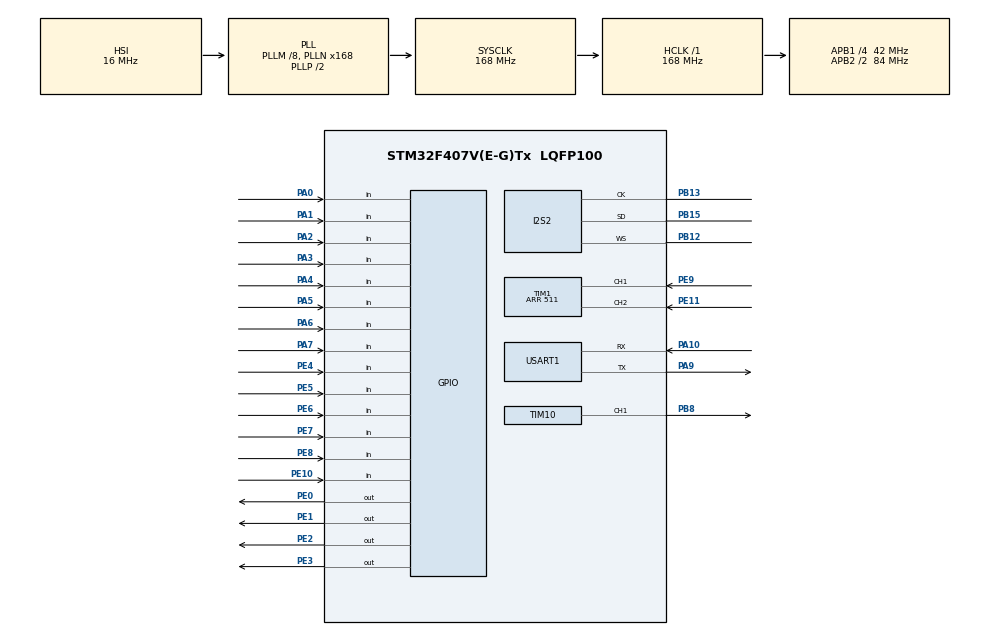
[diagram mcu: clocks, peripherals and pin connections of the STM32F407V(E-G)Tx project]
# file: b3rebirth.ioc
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Mcu.Family=STM32F4
Dma.SPI2_TX.2.PeriphInc=DMA_PINC_DISABLE
Dma.SPI2_TX.2.MemInc=DMA_MINC_ENABLE
PE7.GPIO_PuPd=GPIO_PULLUP
RCC.CortexFreq_Value=168000000
Dma.USART1_TX.1.MemInc=DMA_MINC_ENABLE
PE8.GPIO_PuPd=GPIO_PULLUP
TIM10.ClockDivision=TIM_CLOCKDIVISION_DIV2
PE10.GPIO_PuPd=GPIO_PULLUP
NVIC.DMA1_Stream4_IRQn=true\:5\:0\:false\:false\:true\:true\:false\:true
PB13.Signal=I2S2_CK
PB15.Signal=I2S2_SD
RCC.SYSCLKSource=RCC_SYSCLKSOURCE_PLLCLK
ProjectManager.StackSize=0x400
Dma.SPI2_TX.2.FIFOThreshold=DMA_FIFO_THRESHOLD_HALFFULL
PE5.GPIO_PuPd=GPIO_PULLUP
PE11.GPIO_PuPd=GPIO_PULLUP
RCC.HCLKFreq_Value=168000000
RCC.APB2TimFreq_Value=168000000
VP_TIM10_VS_ClockSourceINT.Mode=Enable_Timer
Dma.SPI2_TX.2.PeriphDataAlignment=DMA_PDATAALIGN_HALFWORD
PE5.Signal=GPIO_Input
Dma.SPI2_TX.2.Instance=DMA1_Stream4
PE1.Signal=GPIO_Output
RCC.AHBFreq_Value=168000000
Dma.USART1_RX.0.Priority=DMA_PRIORITY_LOW
ADC1.Channel-0\#ChannelRegularConversion=ADC_CHANNEL_VREFINT
RCC.HSE_VALUE=25000000
TIM10.Channel=TIM_CHANNEL_1
VP_ADC1_Vref_Input.Mode=IN-Vrefint
PE9.Signal=S_TIM1_CH1
PA14.Mode=Serial_Wire
NVIC.TIM2_IRQn=true\:0\:0\:false\:false\:true\:false\:false\:true
PE2.Signal=GPIO_Output
TIM4.Period=65535
VP_FREERTOS_VS_CMSIS_V1.Mode=CMSIS_V1
Dma.USART1_RX.0.MemInc=DMA_MINC_ENABLE
Dma.SPI2_TX.2.PeriphBurst=DMA_PBURST_SINGLE
Dma.SPI2_TX.2.MemDataAlignment=DMA_MDATAALIGN_HALFWORD
PE4.Signal=GPIO_Input
PE10.Signal=GPIO_Input
ADC1.SamplingTime-0\#ChannelRegularConversion=ADC_SAMPLETIME_3CYCLES
Dma.USART1_TX.1.PeriphDataAlignment=DMA_PDATAALIGN_BYTE
Mcu.Package=LQFP100
VP_SYS_VS_tim2.Mode=TIM2
PA6.Signal=GPIO_Input
PB12.Mode=Half_Duplex_Master
NVIC.DMA2_Stream7_IRQn=true\:5\:0\:false\:false\:true\:true\:false\:true
NVIC.TimeBase=TIM2_IRQn
Dma.SPI2_TX.2.Priority=DMA_PRIORITY_LOW
SH.S_TIM10_CH1.0=TIM10_CH1,PWM Generation1 CH1
Dma.SPI2_TX.2.Mode=DMA_CIRCULAR
NVIC.TimeBaseIP=TIM2
PA10.Signal=USART1_RX
Dma.USART1_RX.0.FIFOMode=DMA_FIFOMODE_DISABLE
RCC.APB2CLKDivider=RCC_HCLK_DIV2
NVIC.DMA2_Stream2_IRQn=true\:5\:0\:false\:false\:true\:true\:false\:true
Dma.Request2=SPI2_TX
Dma.Request1=USART1_TX
RCC.APB1TimFreq_Value=84000000
TIM1.IC2Prescaler=TIM_ICPSC_DIV2
Dma.USART1_RX.0.Mode=DMA_NORMAL
Dma.USART1_TX.1.Priority=DMA_PRIORITY_LOW
TIM1.Period=511
PB13.Mode=Half_Duplex_Master
PE7.Signal=GPIO_Input
NVIC.USART1_IRQn=true\:5\:0\:false\:false\:true\:true\:true\:true
Dma.Request0=USART1_RX
PE6.GPIO_PuPd=GPIO_PULLUP
Dma.USART1_RX.0.Instance=DMA2_Stream2
PA3.Signal=GPIO_Input
Dma.USART1_TX.1.Direction=DMA_MEMORY_TO_PERIPH
TIM10.Prescaler=840
Dma.USART1_TX.1.Instance=DMA2_Stream7
I2S2.AudioFreq=I2S_AUDIOFREQ_44K
TIM1.IC1Prescaler=TIM_ICPSC_DIV2
TIM4.AutoReloadPreload=TIM_AUTORELOAD_PRELOAD_ENABLE
FREERTOS.Tasks01=defaultTask,0,128,StartDefaultTask,Default,NULL,Dynamic,NULL,NULL
ADC1.Rank-0\#ChannelRegularConversion=1
I2S2.Instance=SPI$Index
Dma.USART1_RX.0.PeriphDataAlignment=DMA_PDATAALIGN_BYTE
PA10.Mode=Asynchronous
Dma.SPI2_TX.2.MemBurst=DMA_MBURST_SINGLE
VP_RNG_VS_RNG.Mode=RNG_Activate
RCC.APB1CLKDivider=RCC_HCLK_DIV4
PA0-WKUP.Signal=GPIO_Input
TIM1.ClockDivision=TIM_CLOCKDIVISION_DIV2
PA13.Signal=SYS_JTMS-SWDIO
TIM1.AutoReloadPreload=TIM_AUTORELOAD_PRELOAD_ENABLE
PA9.Mode=Asynchronous
SH.S_TIM1_CH1.0=TIM1_CH1,Encoder_Interface
ProjectManager.TargetToolchain=TrueSTUDIO
Dma.SPI2_TX.2.Direction=DMA_MEMORY_TO_PERIPH
Dma.USART1_RX.0.Direction=DMA_PERIPH_TO_MEMORY
Dma.SPI2_TX.2.FIFOMode=DMA_FIFOMODE_ENABLE
PA9.Signal=USART1_TX
I2S2.VirtualMode=I2S_MODE_MASTER
Dma.USART1_TX.1.FIFOMode=DMA_FIFOMODE_DISABLE
TIM4.Prescaler=83
PE11.Signal=S_TIM1_CH2
RCC.LSE_VALUE=32768
PA1.Signal=GPIO_Input
Dma.USART1_RX.0.PeriphInc=DMA_PINC_DISABLE
PA5.Signal=GPIO_Input
Dma.USART1_TX.1.MemDataAlignment=DMA_MDATAALIGN_BYTE
board=custom
RCC.VCOOutputFreq_Value=336000000
PB15.Mode=Half_Duplex_Master
TIM10.Period=1024
RCC.APB2Freq_Value=84000000
TIM10.Pulse=768
SH.S_TIM1_CH2.0=TIM1_CH2,Encoder_Interface
PE8.Signal=GPIO_Input
TIM1.IC2Filter=9
Dma.USART1_RX.0.MemDataAlignment=DMA_MDATAALIGN_BYTE
PE6.Signal=GPIO_Input
ADC1.NbrOfConversion=1
PA13.Mode=Serial_Wire
PE0.Signal=GPIO_Output
Mcu.Name=STM32F407V(E-G)Tx
PA2.Signal=GPIO_Input
PE4.GPIO_PuPd=GPIO_PULLUP
I2S2.FullDuplexMode=I2S_FULLDUPLEXMODE_DISABLE
RCC.48MHZClocksFreq_Value=48000000
PA4.Signal=GPIO_Input
RCC.SYSCLKFreq_VALUE=168000000
ADC1.master=1
TIM1.IC1Filter=9
I2S2.ErrorAudioFreq=-1.35 %
Dma.USART1_TX.1.Mode=DMA_NORMAL
USART1.VirtualMode=VM_ASYNC
PA14.Signal=SYS_JTCK-SWCLK
ProjectManager.HeapSize=0x200
Dma.USART1_TX.1.PeriphInc=DMA_PINC_DISABLE
RCC.HSI_VALUE=16000000
VP_TIM4_VS_ClockSourceINT.Mode=Internal
RCC.PLLQ=7
NVIC.PriorityGroup=NVIC_PRIORITYGROUP_4
ADC1.NbrOfConversionFlag=1
RCC.PLLM=8
RCC.PLLN=168
PE3.Signal=GPIO_Output
PB8.Signal=S_TIM10_CH1
RCC.APB1Freq_Value=42000000
PB8.GPIO_Speed=GPIO_SPEED_FREQ_HIGH
I2S2.RealAudioFreq=43.402 KHz
ADC1.ClockPrescaler=ADC_CLOCK_SYNC_PCLK_DIV8
RCC.PLLI2SN=50
PB12.Signal=I2S2_WS
PA7.Signal=GPIO_Input
PE9.GPIO_PuPd=GPIO_PULLUP

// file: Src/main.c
/* USER CODE BEGIN Header */
/**
  ******************************************************************************
  * @file           : main.c
  * @brief          : Main program body
  ******************************************************************************
  * @attention
  *
  * <h2><center>&copy; Copyright (c) 2020 STMicroelectronics.
  * All rights reserved.</center></h2>
  *
  * This software component is licensed by ST under Ultimate Liberty license
  * SLA0044, the "License"; You may not use this file except in compliance with
  * the License. You may obtain a copy of the License at:
  *                             www.st.com/SLA0044
  *
  ******************************************************************************
  */
/* USER CODE END Header */

#include "main.h"
#include "cmsis_os.h"
#include "adc.h"
#include "dma.h"
#include "i2s.h"
#include "rng.h"
#include "tim.h"
#include "usart.h"
#include "gpio.h"

/* USER CODE BEGIN Includes */
#include "stdio.h"
#include "string.h"
/* USER CODE END Includes */

void SystemClock_Config(void);
void MX_FREERTOS_Init(void);

/* USER CODE BEGIN 0 */
char uartdebugBuffer[256];
int _write(int file, char *ptr, int len)
{
  while (huart1.gState != HAL_UART_STATE_READY) {
    //Kill time waiting for previous transfers
    HAL_Delay(10);
  }
  memcpy(uartdebugBuffer, ptr, len);
  HAL_UART_Transmit_DMA(&huart1, (uint8_t *)uartdebugBuffer, len);

  return len;
}
/* USER CODE END 0 */

int main(void)
{

  /* MCU Configuration--------------------------------------------------------*/

  /* Reset of all peripherals, Initializes the Flash interface and the Systick. */
  HAL_Init();

  /* Configure the system clock */
  SystemClock_Config();

  /* Initialize all configured peripherals */
  MX_GPIO_Init();
  MX_DMA_Init();
  MX_I2S2_Init();
  MX_USART1_UART_Init();
  MX_RNG_Init();
  MX_TIM4_Init();
  MX_TIM1_Init();
  MX_ADC1_Init();
  MX_TIM10_Init();
  /* USER CODE BEGIN 2 */
  printf("DEBUG rebirth\n\r");
  HAL_TIM_Base_Start(&htim4);
  HAL_TIM_Encoder_Start(&htim1, TIM_CHANNEL_1);
  HAL_TIM_PWM_Start(&htim10, TIM_CHANNEL_1);

  /* USER CODE END 2 */

  /* Call init function for freertos objects (in freertos.c) */
  MX_FREERTOS_Init();
  /* Start scheduler */
  osKernelStart();

  /* We should never get here as control is now taken by the scheduler */
  /* Infinite loop */
  while (1)
  {

  }
}

void SystemClock_Config(void)
{
  RCC_OscInitTypeDef RCC_OscInitStruct = {0};
  RCC_ClkInitTypeDef RCC_ClkInitStruct = {0};
  RCC_PeriphCLKInitTypeDef PeriphClkInitStruct = {0};

  /** Configure the main internal regulator output voltage
  */
  __HAL_RCC_PWR_CLK_ENABLE();
  __HAL_PWR_VOLTAGESCALING_CONFIG(PWR_REGULATOR_VOLTAGE_SCALE1);
  /** Initializes the CPU, AHB and APB busses clocks
  */
  RCC_OscInitStruct.OscillatorType = RCC_OSCILLATORTYPE_HSI;
  RCC_OscInitStruct.HSIState = RCC_HSI_ON;
  RCC_OscInitStruct.HSICalibrationValue = RCC_HSICALIBRATION_DEFAULT;
  RCC_OscInitStruct.PLL.PLLState = RCC_PLL_ON;
  RCC_OscInitStruct.PLL.PLLSource = RCC_PLLSOURCE_HSI;
  RCC_OscInitStruct.PLL.PLLM = 8;
  RCC_OscInitStruct.PLL.PLLN = 168;
  RCC_OscInitStruct.PLL.PLLP = RCC_PLLP_DIV2;
  RCC_OscInitStruct.PLL.PLLQ = 7;
  if (HAL_RCC_OscConfig(&RCC_OscInitStruct) != HAL_OK)
  {
    Error_Handler();
  }
  /** Initializes the CPU, AHB and APB busses clocks
  */
  RCC_ClkInitStruct.ClockType = RCC_CLOCKTYPE_HCLK|RCC_CLOCKTYPE_SYSCLK
                              |RCC_CLOCKTYPE_PCLK1|RCC_CLOCKTYPE_PCLK2;
  RCC_ClkInitStruct.SYSCLKSource = RCC_SYSCLKSOURCE_PLLCLK;
  RCC_ClkInitStruct.AHBCLKDivider = RCC_SYSCLK_DIV1;
  RCC_ClkInitStruct.APB1CLKDivider = RCC_HCLK_DIV4;
  RCC_ClkInitStruct.APB2CLKDivider = RCC_HCLK_DIV2;

  if (HAL_RCC_ClockConfig(&RCC_ClkInitStruct, FLASH_LATENCY_5) != HAL_OK)
  {
    Error_Handler();
  }
  PeriphClkInitStruct.PeriphClockSelection = RCC_PERIPHCLK_I2S;
  PeriphClkInitStruct.PLLI2S.PLLI2SN = 50;
  PeriphClkInitStruct.PLLI2S.PLLI2SR = 2;
  if (HAL_RCCEx_PeriphCLKConfig(&PeriphClkInitStruct) != HAL_OK)
  {
    Error_Handler();
  }
}

 /**
  * @brief  Period elapsed callback in non blocking mode
  * @note   This function is called  when TIM2 interrupt took place, inside
  * HAL_TIM_IRQHandler(). It makes a direct call to HAL_IncTick() to increment
  * a global variable "uwTick" used as application time base.
  * @param  htim : TIM handle
  * @retval None
  */
void HAL_TIM_PeriodElapsedCallback(TIM_HandleTypeDef *htim)
{
  if (htim->Instance == TIM2) {
    HAL_IncTick();
  }
}

void Error_Handler(void)
{
}

/************************ (C) COPYRIGHT STMicroelectronics *****END OF FILE****/

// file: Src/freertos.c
/* USER CODE BEGIN Header */
/**
  ******************************************************************************
  * File Name          : freertos.c
  * Description        : Code for freertos applications
  ******************************************************************************
  * @attention
  *
  * <h2><center>&copy; Copyright (c) 2020 STMicroelectronics.
  * All rights reserved.</center></h2>
  *
  * This software component is licensed by ST under Ultimate Liberty license
  * SLA0044, the "License"; You may not use this file except in compliance with
  * the License. You may obtain a copy of the License at:
  *                             www.st.com/SLA0044
  *
  ******************************************************************************
  */
/* USER CODE END Header */

#include "FreeRTOS.h"
#include "task.h"
#include "main.h"
#include "cmsis_os.h"

/* USER CODE BEGIN Includes */
#include "keyboard.h"
#include "display.h"
#include "synthesizer.h"
/* USER CODE END Includes */

osThreadId defaultTaskHandle;

void StartDefaultTask(void const * argument);

void MX_FREERTOS_Init(void); /* (MISRA C 2004 rule 8.1) */

/* GetIdleTaskMemory prototype (linked to static allocation support) */
void vApplicationGetIdleTaskMemory( StaticTask_t **ppxIdleTaskTCBBuffer, StackType_t **ppxIdleTaskStackBuffer, uint32_t *pulIdleTaskStackSize );

/* USER CODE BEGIN GET_IDLE_TASK_MEMORY */
static StaticTask_t xIdleTaskTCBBuffer;
static StackType_t xIdleStack[configMINIMAL_STACK_SIZE];

void vApplicationGetIdleTaskMemory( StaticTask_t **ppxIdleTaskTCBBuffer, StackType_t **ppxIdleTaskStackBuffer, uint32_t *pulIdleTaskStackSize )
{
  *ppxIdleTaskTCBBuffer = &xIdleTaskTCBBuffer;
  *ppxIdleTaskStackBuffer = &xIdleStack[0];
  *pulIdleTaskStackSize = configMINIMAL_STACK_SIZE;
  /* place for user code */
}
/* USER CODE END GET_IDLE_TASK_MEMORY */

void MX_FREERTOS_Init(void) {

  /* Create the thread(s) */
  /* definition and creation of defaultTask */
  osThreadDef(defaultTask, StartDefaultTask, osPriorityNormal, 0, 128);
  defaultTaskHandle = osThreadCreate(osThread(defaultTask), NULL);

  /* USER CODE BEGIN RTOS_THREADS */
  /* add threads, ... */
  osThreadDef(KeyboardTask, keyboard_task, osPriorityNormal, 0, 128);
  defaultTaskHandle = osThreadCreate(osThread(KeyboardTask), NULL);

  osThreadDef(DisplayTask, display_task, osPriorityAboveNormal, 0, 512);
  defaultTaskHandle = osThreadCreate(osThread(DisplayTask), NULL);

  osThreadDef(SynthTask, synth_task, osPriorityHigh, 0, 512);
  defaultTaskHandle = osThreadCreate(osThread(SynthTask), NULL);
  /* USER CODE END RTOS_THREADS */

}

void StartDefaultTask(void const * argument)
{
  /* USER CODE BEGIN StartDefaultTask */
  /* Infinite loop */
  for(;;)
  {
    osDelay(1000);
  }
  /* USER CODE END StartDefaultTask */
}

/************************ (C) COPYRIGHT STMicroelectronics *****END OF FILE****/
